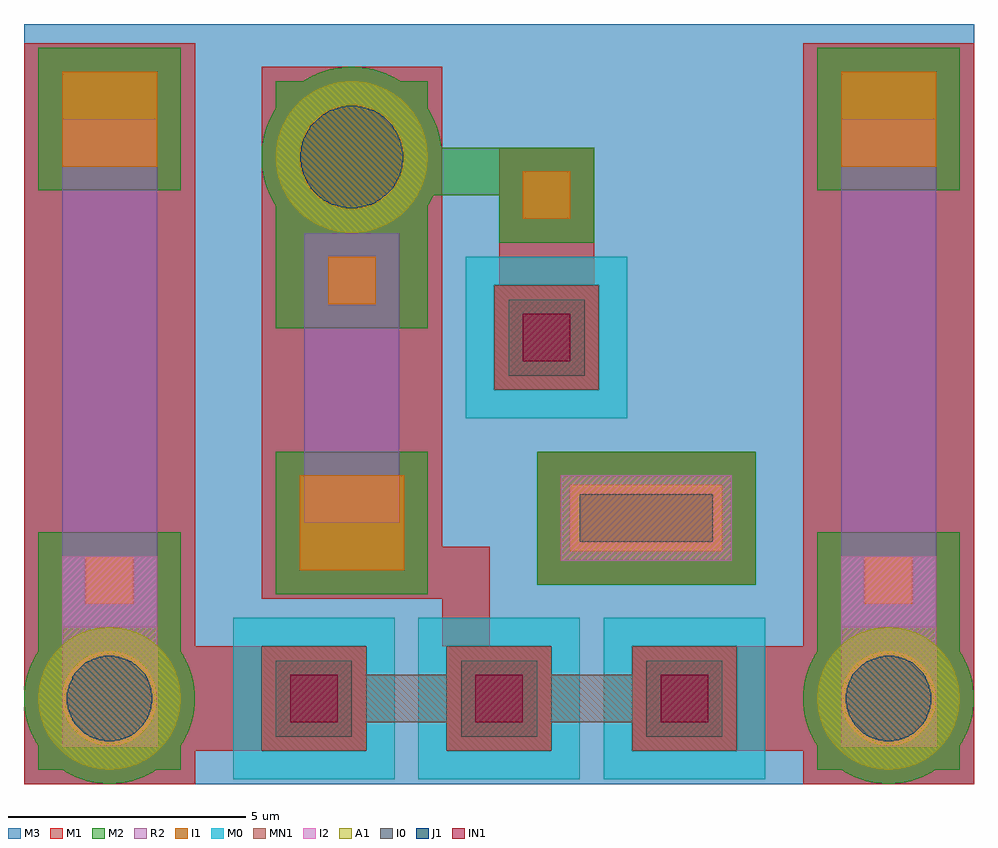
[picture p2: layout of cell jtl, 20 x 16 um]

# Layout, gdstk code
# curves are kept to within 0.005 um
from math import pi, radians
import gdstk
lib = gdstk.Library(unit=1e-6, precision=1e-09)
def R(c, l, rs):  # rectangles x0, y0, x1, y1
    for r in rs: c.add(gdstk.rectangle(r[:2], r[2:], *l))
def P(c, l, *ps):  # polygons
    for p in ps: c.add(gdstk.Polygon(p, *l))
M1 = (1, 0)
I1 = (3, 0)
J1 = (4, 0)
A1 = (5, 0)
M2 = (6, 0)
I2 = (8, 0)
R2 = (9, 0)
M3 = (10, 0)
M0 = (30, 0)
I0 = (31, 0)
IN1 = (32, 0)
MN1 = (34, 0)

cj_vm3m0 = lib.new_cell('cj_vm3m0')
cj_vm3m0.add(gdstk.FlexPath([(-2.3,0),(2.3,0)], 2.8, ends="flush", simple_path=True, layer=6, datatype=0))  # M2
cj_vm3m0.add(gdstk.FlexPath([(-2.3,0),(2.3,0)], 2.8, ends="flush", simple_path=True, layer=1, datatype=0))  # M1
cj_vm3m0.add(gdstk.FlexPath([(-1.6,0),(1.6,0)], 1.4, ends="flush", simple_path=True, layer=3, datatype=0))  # I1
cj_vm3m0.add(gdstk.FlexPath([(-1.8,0),(1.8,0)], 1.8, ends="flush", simple_path=True, layer=8, datatype=0))  # I2
cj_vm3m0.add(gdstk.FlexPath([(-2.3,0),(2.3,0)], 2.8, ends="flush", simple_path=True, layer=10, datatype=0))  # M3
cj_vm3m0.add(gdstk.FlexPath([(-1.4,0),(1.4,0)], 1, ends="flush", simple_path=True, layer=31, datatype=0))  # I0

ak_qc4p2j000 = lib.new_cell('ak_qc4p2j000')
P(ak_qc4p2j000, M1, [(-0.031,-1.799),(-0.219,-1.786),(-0.374,-1.76),(-0.556,-1.711),(-0.703,-1.656),(-0.9,-1.558),(-1.032,-1.474),(-1.18,-1.358),(-1.294,-1.25),(-1.418,-1.108),(-1.509,-0.98),(-1.603,-0.817),(-1.68,-0.645),(-1.738,-0.466),(-1.772,-0.312),(-1.795,-0.125),(-1.799,0.031),(-1.786,0.219),(-1.76,0.374),(-1.711,0.556),(-1.656,0.703),(-1.558,0.9),(-1.474,1.032),(-1.358,1.18),(-1.25,1.294),(-1.108,1.418),(-0.98,1.509),(-0.817,1.603),(-0.645,1.68),(-0.466,1.738),(-0.312,1.772),(-0.125,1.795),(0.031,1.799),(0.219,1.786),(0.374,1.76),(0.556,1.711),(0.703,1.656),(0.9,1.558),(1.032,1.474),(1.18,1.358),(1.294,1.25),(1.418,1.108),(1.509,0.98),(1.603,0.817),(1.68,0.645),(1.738,0.466),(1.772,0.312),(1.795,0.125),(1.799,-0.031),(1.786,-0.219),(1.76,-0.374),(1.711,-0.556),(1.656,-0.703),(1.558,-0.9),(1.474,-1.032),(1.358,-1.18),(1.25,-1.294),(1.108,-1.418),(0.98,-1.509),(0.817,-1.603),(0.645,-1.68),(0.466,-1.738),(0.312,-1.772),(0.125,-1.795)])
P(ak_qc4p2j000, I1, [(-0.017,-0.999),(-0.191,-0.981),(-0.39,-0.92),(-0.559,-0.828),(-0.629,-0.776),(-0.719,-0.694),(-0.838,-0.544),(-0.89,-0.454),(-0.933,-0.358),(-0.981,-0.191),(-0.997,-0.07),(-0.999,0.017),(-0.981,0.191),(-0.92,0.39),(-0.828,0.559),(-0.776,0.629),(-0.694,0.719),(-0.544,0.838),(-0.454,0.89),(-0.358,0.933),(-0.191,0.981),(-0.07,0.997),(0.017,0.999),(0.191,0.981),(0.39,0.92),(0.559,0.828),(0.629,0.776),(0.719,0.694),(0.838,0.544),(0.89,0.454),(0.933,0.358),(0.981,0.191),(0.997,0.07),(0.999,-0.017),(0.981,-0.191),(0.92,-0.39),(0.828,-0.559),(0.776,-0.629),(0.694,-0.719),(0.544,-0.838),(0.454,-0.89),(0.358,-0.933),(0.191,-0.981),(0.07,-0.997)])
P(ak_qc4p2j000, J1, [(-0.12,-0.9),(-0.14,-0.88),(-0.22,-0.88),(-0.24,-0.86),(-0.28,-0.86),(-0.3,-0.84),(-0.34,-0.84),(-0.36,-0.82),(-0.38,-0.82),(-0.4,-0.8),(-0.42,-0.8),(-0.44,-0.78),(-0.46,-0.78),(-0.48,-0.76),(-0.5,-0.76),(-0.74,-0.52),(-0.74,-0.5),(-0.78,-0.46),(-0.78,-0.42),(-0.8,-0.4),(-0.8,-0.38),(-0.82,-0.36),(-0.82,-0.34),(-0.84,-0.32),(-0.84,-0.3),(-0.86,-0.28),(-0.86,-0.22),(-0.88,-0.2),(-0.88,-0.14),(-0.9,-0.12),(-0.9,0.12),(-0.88,0.14),(-0.88,0.22),(-0.86,0.24),(-0.86,0.28),(-0.84,0.3),(-0.84,0.32),(-0.82,0.34),(-0.82,0.38),(-0.8,0.4),(-0.8,0.42),(-0.78,0.44),(-0.78,0.46),(-0.74,0.5),(-0.74,0.52),(-0.52,0.74),(-0.5,0.74),(-0.48,0.76),(-0.46,0.76),(-0.42,0.8),(-0.4,0.8),(-0.38,0.82),(-0.36,0.82),(-0.34,0.84),(-0.3,0.84),(-0.28,0.86),(-0.24,0.86),(-0.22,0.88),(-0.12,0.88),(-0.1,0.9),(0.1,0.9),(0.12,0.88),(0.22,0.88),(0.24,0.86),(0.28,0.86),(0.3,0.84),(0.34,0.84),(0.36,0.82),(0.38,0.82),(0.4,0.8),(0.42,0.8),(0.44,0.78),(0.46,0.78),(0.5,0.74),(0.52,0.74),(0.72,0.54),(0.72,0.52),(0.76,0.48),(0.76,0.46),(0.8,0.42),(0.8,0.4),(0.82,0.38),(0.82,0.36),(0.84,0.34),(0.84,0.3),(0.86,0.28),(0.86,0.24),(0.88,0.22),(0.88,0.12),(0.9,0.1),(0.9,-0.1),(0.88,-0.12),(0.88,-0.22),(0.86,-0.24),(0.86,-0.28),(0.84,-0.3),(0.84,-0.34),(0.82,-0.36),(0.82,-0.38),(0.8,-0.4),(0.8,-0.42),(0.78,-0.44),(0.78,-0.46),(0.76,-0.48),(0.76,-0.5),(0.54,-0.72),(0.52,-0.72),(0.46,-0.78),(0.44,-0.78),(0.42,-0.8),(0.4,-0.8),(0.38,-0.82),(0.34,-0.82),(0.32,-0.84),(0.28,-0.84),(0.26,-0.86),(0.22,-0.86),(0.2,-0.88),(0.12,-0.88),(0.1,-0.9)])
P(ak_qc4p2j000, A1, [(-0.026,-1.5),(-0.183,-1.489),(-0.337,-1.462),(-0.464,-1.427),(-0.586,-1.381),(-0.681,-1.337),(-0.839,-1.244),(-0.944,-1.166),(-1.061,-1.061),(-1.166,-0.944),(-1.244,-0.839),(-1.337,-0.681),(-1.391,-0.562),(-1.449,-0.388),(-1.482,-0.235),(-1.498,-0.079),(-1.5,0.026),(-1.489,0.183),(-1.462,0.337),(-1.427,0.464),(-1.381,0.586),(-1.337,0.681),(-1.244,0.839),(-1.166,0.944),(-1.061,1.061),(-0.944,1.166),(-0.839,1.244),(-0.681,1.337),(-0.562,1.391),(-0.388,1.449),(-0.235,1.482),(-0.079,1.498),(0.026,1.5),(0.183,1.489),(0.337,1.462),(0.464,1.427),(0.586,1.381),(0.681,1.337),(0.839,1.244),(0.944,1.166),(1.061,1.061),(1.166,0.944),(1.244,0.839),(1.337,0.681),(1.391,0.562),(1.449,0.388),(1.482,0.235),(1.498,0.079),(1.5,-0.026),(1.489,-0.183),(1.462,-0.337),(1.427,-0.464),(1.381,-0.586),(1.337,-0.681),(1.244,-0.839),(1.166,-0.944),(1.061,-1.061),(0.944,-1.166),(0.839,-1.244),(0.681,-1.337),(0.562,-1.391),(0.388,-1.449),(0.235,-1.482),(0.079,-1.498)])
P(ak_qc4p2j000, M2, [(-0.031,-1.799),(-0.219,-1.786),(-0.374,-1.76),(-0.556,-1.711),(-0.703,-1.656),(-0.9,-1.558),(-1.032,-1.474),(-1.18,-1.358),(-1.294,-1.25),(-1.418,-1.108),(-1.509,-0.98),(-1.603,-0.817),(-1.68,-0.645),(-1.738,-0.466),(-1.772,-0.312),(-1.795,-0.125),(-1.799,0.031),(-1.786,0.219),(-1.76,0.374),(-1.711,0.556),(-1.656,0.703),(-1.558,0.9),(-1.474,1.032),(-1.358,1.18),(-1.25,1.294),(-1.108,1.418),(-0.98,1.509),(-0.817,1.603),(-0.645,1.68),(-0.466,1.738),(-0.312,1.772),(-0.125,1.795),(0.031,1.799),(0.219,1.786),(0.374,1.76),(0.556,1.711),(0.703,1.656),(0.9,1.558),(1.032,1.474),(1.18,1.358),(1.294,1.25),(1.418,1.108),(1.509,0.98),(1.603,0.817),(1.68,0.645),(1.738,0.466),(1.772,0.312),(1.795,0.125),(1.799,-0.031),(1.786,-0.219),(1.76,-0.374),(1.711,-0.556),(1.656,-0.703),(1.558,-0.9),(1.474,-1.032),(1.358,-1.18),(1.25,-1.294),(1.108,-1.418),(0.98,-1.509),(0.817,-1.603),(0.645,-1.68),(0.466,-1.738),(0.312,-1.772),(0.125,-1.795)])

ak_qc4p4r174 = lib.new_cell('ak_qc4p4r174')
R(ak_qc4p4r174, I1, [(-0.9,-11.7,0.9,-9.7), (-0.5,-1.5,0.5,-0.5)])
R(ak_qc4p4r174, M2, [(-1.4,-12.2,1.4,-9.2), (-1.4,-2,1.4,0)])
R(ak_qc4p4r174, R2, [(-1,-10.7,1,0)])

ak_qc4p2j000s = lib.new_cell('ak_qc4p2j000s')
R(ak_qc4p2j000s, M1, [(-1.8,-13.8,1.8,1.8)])
R(ak_qc4p2j000s, I1, [(-1,-13.2,1,-11.2)])
R(ak_qc4p2j000s, M2, [(-1.5,-13.7,1.5,-10.7), (-1.5,-3.5,1.5,1.5)])
ak_qc4p2j000s.add(gdstk.Reference(ak_qc4p2j000, (0,0)))
ak_qc4p2j000s.add(gdstk.Reference(ak_qc4p4r174, (0,-1.5)))

ak_qc4p2j000sgu = lib.new_cell('ak_qc4p2j000sgu')
R(ak_qc4p2j000sgu, I2, [(-1,-3,1,1)])
R(ak_qc4p2j000sgu, M3, [(-1.5,-3.5,1.5,1.5)])
ak_qc4p2j000sgu.add(gdstk.Reference(ak_qc4p2j000s, (0,0)))

ak_qc4p3j000 = lib.new_cell('ak_qc4p3j000')
P(ak_qc4p3j000, M1, [(-0.033,-1.9),(-0.199,-1.89),(-0.363,-1.865),(-0.556,-1.817),(-0.712,-1.762),(-0.892,-1.678),(-1.035,-1.593),(-1.196,-1.477),(-1.344,-1.344),(-1.477,-1.196),(-1.593,-1.035),(-1.678,-0.892),(-1.762,-0.712),(-1.817,-0.556),(-1.865,-0.363),(-1.893,-0.166),(-1.9,0.033),(-1.89,0.199),(-1.865,0.363),(-1.817,0.556),(-1.762,0.712),(-1.678,0.892),(-1.593,1.035),(-1.477,1.196),(-1.344,1.344),(-1.196,1.477),(-1.035,1.593),(-0.892,1.678),(-0.712,1.762),(-0.556,1.817),(-0.363,1.865),(-0.166,1.893),(0.033,1.9),(0.199,1.89),(0.363,1.865),(0.556,1.817),(0.712,1.762),(0.892,1.678),(1.035,1.593),(1.196,1.477),(1.344,1.344),(1.477,1.196),(1.593,1.035),(1.678,0.892),(1.762,0.712),(1.817,0.556),(1.865,0.363),(1.893,0.166),(1.9,-0.033),(1.89,-0.199),(1.865,-0.363),(1.817,-0.556),(1.762,-0.712),(1.678,-0.892),(1.593,-1.035),(1.477,-1.196),(1.344,-1.344),(1.196,-1.477),(1.035,-1.593),(0.892,-1.678),(0.712,-1.762),(0.556,-1.817),(0.363,-1.865),(0.166,-1.893)])
P(ak_qc4p3j000, I1, [(-0.019,-1.1),(-0.134,-1.092),(-0.229,-1.076),(-0.43,-1.013),(-0.599,-0.923),(-0.707,-0.843),(-0.778,-0.778),(-0.843,-0.707),(-0.923,-0.599),(-1.013,-0.43),(-1.052,-0.322),(-1.08,-0.21),(-1.096,-0.096),(-1.1,0.019),(-1.092,0.134),(-1.076,0.229),(-1.013,0.43),(-0.923,0.599),(-0.843,0.707),(-0.778,0.778),(-0.707,0.843),(-0.599,0.923),(-0.43,1.013),(-0.322,1.052),(-0.21,1.08),(-0.096,1.096),(0.019,1.1),(0.134,1.092),(0.229,1.076),(0.43,1.013),(0.599,0.923),(0.707,0.843),(0.778,0.778),(0.843,0.707),(0.923,0.599),(1.013,0.43),(1.052,0.322),(1.08,0.21),(1.096,0.096),(1.1,-0.019),(1.092,-0.134),(1.076,-0.229),(1.013,-0.43),(0.923,-0.599),(0.843,-0.707),(0.778,-0.778),(0.707,-0.843),(0.599,-0.923),(0.43,-1.013),(0.322,-1.052),(0.21,-1.08),(0.096,-1.096)])
P(ak_qc4p3j000, J1, [(-0.12,-1.08),(-0.14,-1.06),(-0.22,-1.06),(-0.24,-1.04),(-0.3,-1.04),(-0.32,-1.02),(-0.36,-1.02),(-0.38,-1),(-0.42,-1),(-0.44,-0.98),(-0.46,-0.98),(-0.48,-0.96),(-0.5,-0.96),(-0.52,-0.94),(-0.54,-0.94),(-0.56,-0.92),(-0.58,-0.92),(-0.64,-0.86),(-0.66,-0.86),(-0.86,-0.66),(-0.86,-0.64),(-0.88,-0.62),(-0.88,-0.6),(-0.94,-0.54),(-0.94,-0.52),(-0.96,-0.5),(-0.96,-0.48),(-0.98,-0.46),(-0.98,-0.42),(-1,-0.4),(-1,-0.38),(-1.02,-0.36),(-1.02,-0.32),(-1.04,-0.3),(-1.04,-0.24),(-1.06,-0.22),(-1.06,-0.12),(-1.08,-0.1),(-1.08,0.1),(-1.06,0.12),(-1.06,0.24),(-1.04,0.26),(-1.04,0.32),(-1.02,0.34),(-1.02,0.38),(-1,0.4),(-1,0.42),(-0.98,0.44),(-0.98,0.46),(-0.96,0.48),(-0.96,0.5),(-0.94,0.52),(-0.94,0.54),(-0.9,0.58),(-0.9,0.6),(-0.88,0.62),(-0.88,0.64),(-0.7,0.82),(-0.68,0.82),(-0.6,0.9),(-0.58,0.9),(-0.56,0.92),(-0.54,0.92),(-0.5,0.96),(-0.48,0.96),(-0.46,0.98),(-0.44,0.98),(-0.42,1),(-0.38,1),(-0.36,1.02),(-0.32,1.02),(-0.3,1.04),(-0.24,1.04),(-0.22,1.06),(-0.14,1.06),(-0.12,1.08),(0.12,1.08),(0.14,1.06),(0.22,1.06),(0.24,1.04),(0.3,1.04),(0.32,1.02),(0.36,1.02),(0.38,1),(0.42,1),(0.44,0.98),(0.46,0.98),(0.48,0.96),(0.5,0.96),(0.52,0.94),(0.54,0.94),(0.56,0.92),(0.58,0.92),(0.64,0.86),(0.66,0.86),(0.86,0.66),(0.86,0.64),(0.88,0.62),(0.88,0.6),(0.94,0.54),(0.94,0.52),(0.96,0.5),(0.96,0.48),(0.98,0.46),(0.98,0.42),(1,0.4),(1,0.38),(1.02,0.36),(1.02,0.32),(1.04,0.3),(1.04,0.24),(1.06,0.22),(1.06,0.12),(1.08,0.1),(1.08,-0.1),(1.06,-0.12),(1.06,-0.24),(1.04,-0.26),(1.04,-0.32),(1.02,-0.34),(1.02,-0.38),(1,-0.4),(1,-0.42),(0.98,-0.44),(0.98,-0.46),(0.96,-0.48),(0.96,-0.5),(0.94,-0.52),(0.94,-0.54),(0.9,-0.58),(0.9,-0.6),(0.88,-0.62),(0.88,-0.64),(0.7,-0.82),(0.68,-0.82),(0.6,-0.9),(0.58,-0.9),(0.56,-0.92),(0.54,-0.92),(0.5,-0.96),(0.48,-0.96),(0.46,-0.98),(0.44,-0.98),(0.42,-1),(0.38,-1),(0.36,-1.02),(0.32,-1.02),(0.3,-1.04),(0.24,-1.04),(0.22,-1.06),(0.14,-1.06),(0.12,-1.08)])
P(ak_qc4p3j000, A1, [(-0.028,-1.599),(-0.139,-1.593),(-0.305,-1.57),(-0.468,-1.529),(-0.625,-1.472),(-0.775,-1.399),(-0.894,-1.326),(-1.028,-1.225),(-1.131,-1.131),(-1.225,-1.028),(-1.326,-0.894),(-1.412,-0.751),(-1.483,-0.599),(-1.545,-0.414),(-1.575,-0.278),(-1.593,-0.139),(-1.599,0.028),(-1.593,0.139),(-1.57,0.305),(-1.529,0.468),(-1.472,0.625),(-1.399,0.775),(-1.326,0.894),(-1.225,1.028),(-1.131,1.131),(-1.028,1.225),(-0.894,1.326),(-0.751,1.412),(-0.599,1.483),(-0.414,1.545),(-0.278,1.575),(-0.139,1.593),(0.028,1.599),(0.139,1.593),(0.305,1.57),(0.468,1.529),(0.625,1.472),(0.775,1.399),(0.894,1.326),(1.028,1.225),(1.131,1.131),(1.225,1.028),(1.326,0.894),(1.412,0.751),(1.483,0.599),(1.545,0.414),(1.575,0.278),(1.593,0.139),(1.599,-0.028),(1.593,-0.139),(1.57,-0.305),(1.529,-0.468),(1.472,-0.625),(1.399,-0.775),(1.326,-0.894),(1.225,-1.028),(1.131,-1.131),(1.028,-1.225),(0.894,-1.326),(0.751,-1.412),(0.599,-1.483),(0.414,-1.545),(0.278,-1.575),(0.139,-1.593)])
P(ak_qc4p3j000, M2, [(-0.033,-1.9),(-0.199,-1.89),(-0.363,-1.865),(-0.556,-1.817),(-0.712,-1.762),(-0.892,-1.678),(-1.035,-1.593),(-1.196,-1.477),(-1.344,-1.344),(-1.477,-1.196),(-1.593,-1.035),(-1.678,-0.892),(-1.762,-0.712),(-1.817,-0.556),(-1.865,-0.363),(-1.893,-0.166),(-1.9,0.033),(-1.89,0.199),(-1.865,0.363),(-1.817,0.556),(-1.762,0.712),(-1.678,0.892),(-1.593,1.035),(-1.477,1.196),(-1.344,1.344),(-1.196,1.477),(-1.035,1.593),(-0.892,1.678),(-0.712,1.762),(-0.556,1.817),(-0.363,1.865),(-0.166,1.893),(0.033,1.9),(0.199,1.89),(0.363,1.865),(0.556,1.817),(0.712,1.762),(0.892,1.678),(1.035,1.593),(1.196,1.477),(1.344,1.344),(1.477,1.196),(1.593,1.035),(1.678,0.892),(1.762,0.712),(1.817,0.556),(1.865,0.363),(1.893,0.166),(1.9,-0.033),(1.89,-0.199),(1.865,-0.363),(1.817,-0.556),(1.762,-0.712),(1.678,-0.892),(1.593,-1.035),(1.477,-1.196),(1.344,-1.344),(1.196,-1.477),(1.035,-1.593),(0.892,-1.678),(0.712,-1.762),(0.556,-1.817),(0.363,-1.865),(0.166,-1.893)])

ak_qc4p1r857 = lib.new_cell('ak_qc4p1r857')
R(ak_qc4p1r857, I1, [(-0.9,-7.1,0.9,-5.1), (-0.5,-1.5,0.5,-0.5)])
R(ak_qc4p1r857, M2, [(-1.4,-7.6,1.4,-4.6), (-1.4,-2,1.4,0)])
R(ak_qc4p1r857, R2, [(-1,-6.1,1,0)])

ak_qc4p3j000s0v700 = lib.new_cell('ak_qc4p3j000s0v700')
R(ak_qc4p3j000s0v700, M1, [(-1.9,-9.3,1.9,1.9)])
R(ak_qc4p3j000s0v700, I1, [(-1.1,-8.7,1.1,-6.7)])
R(ak_qc4p3j000s0v700, M2, [(-1.6,-9.2,1.6,-6.2), (-1.6,-3.6,1.6,1.6)])
ak_qc4p3j000s0v700.add(gdstk.Reference(ak_qc4p3j000, (0,0)))
ak_qc4p3j000s0v700.add(gdstk.Reference(ak_qc4p1r857, (0,-1.6)))

ak_qc4vm1mn1 = lib.new_cell('ak_qc4vm1mn1')
R(ak_qc4vm1mn1, M1, [(-1.1,-1.1,1.1,1.1)])
R(ak_qc4vm1mn1, I0, [(-0.8,-0.8,0.8,0.8)])
R(ak_qc4vm1mn1, IN1, [(-0.5,-0.5,0.5,0.5)])
R(ak_qc4vm1mn1, MN1, [(-1.1,-1.1,1.1,1.1)])
ak_qc4vm1mn1.add(gdstk.FlexPath([(-1.4,1.7),(-1.4,-1.4),(1.4,-1.4),(1.4,1.4),(-1.1,1.4)], 0.6, ends="flush", simple_path=True, layer=30, datatype=0))  # M0

ak_qc4vm21 = lib.new_cell('ak_qc4vm21')
R(ak_qc4vm21, M1, [(-1,-1,1,1)])
R(ak_qc4vm21, I1, [(-0.5,-0.5,0.5,0.5)])
R(ak_qc4vm21, M2, [(-1,-1,1,1)])

jtl = lib.new_cell('jtl')
R(jtl, M1, [(3.6,-1.8,5,0.4), (15,-1.8,16.4,0.4), (8.8,0.4,9.8,2.5), (10,8,12,8.9)])
R(jtl, M3, [(0,-2.5,20,13.5)])
jtl.add(gdstk.FlexPath([(10.4,10.4),(8.5,10.4)], 1, ends="flush", simple_path=True, layer=6, datatype=0))  # M2
jtl.add(gdstk.FlexPath([(7.2,-0.7),(8.9,-0.7)], 1, ends="flush", simple_path=True, layer=34, datatype=0))  # MN1
jtl.add(gdstk.FlexPath([(12.8,-0.7),(11.1,-0.7)], 1, ends="flush", simple_path=True, layer=34, datatype=0))  # MN1
jtl.add(gdstk.Reference(cj_vm3m0, (13.1,3.1)))
jtl.add(gdstk.Reference(ak_qc4p2j000sgu, (1.8,-0.7), x_reflection=True))
jtl.add(gdstk.Reference(ak_qc4p2j000sgu, (18.2,-0.7), rotation=pi))
jtl.add(gdstk.Reference(ak_qc4p3j000s0v700, (6.9,10.7)))
jtl.add(gdstk.Reference(ak_qc4vm1mn1, (6.1,-0.7)))
jtl.add(gdstk.Reference(ak_qc4vm1mn1, (10,-0.7)))
jtl.add(gdstk.Reference(ak_qc4vm1mn1, (13.9,-0.7), rotation=pi, x_reflection=True))
jtl.add(gdstk.Reference(ak_qc4vm1mn1, (11,6.9)))
jtl.add(gdstk.Reference(ak_qc4vm21, (11,9.9)))

lib.write_gds('jtl.gds')
